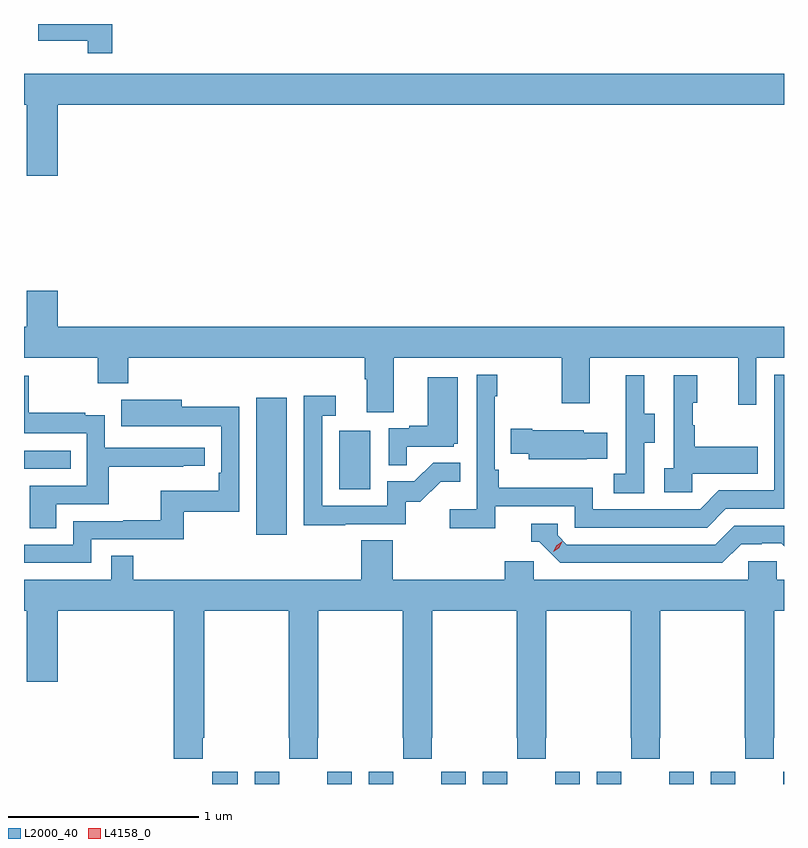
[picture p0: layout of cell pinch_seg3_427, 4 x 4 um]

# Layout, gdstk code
import gdstk
lib = gdstk.Library(unit=1e-6, precision=1e-09)
def R(c, l, rs):  # rectangles x0, y0, x1, y1
    for r in rs: c.add(gdstk.rectangle(r[:2], r[2:], *l))
def P(c, l, *ps):  # polygons
    for p in ps: c.add(gdstk.Polygon(p, *l))
L2000_40 = (2000, 40)
L4158_0 = (4158, 0)

pinch_seg3_427 = lib.new_cell('pinch_seg3_427')
R(pinch_seg3_427, L2000_40, [(897.254,702.669,897.388,702.733), (897.476,702.669,897.606,702.733), (897.858,702.669,897.988,702.733), (898.076,702.669,898.206,702.733), (898.458,702.669,898.588,702.733), (898.676,702.669,898.806,702.733), (899.058,702.669,899.188,702.733), (899.276,702.669,899.406,702.733), (899.658,702.669,899.788,702.733), (899.876,702.669,900.006,702.733), (900.258,702.669,900.262,702.733), (897.485,703.98,897.646,704.701), (897.92,704.22,898.084,704.527), (896.262,704.328,896.507,704.424), (897.944,706.667,898.333,706.669)])
P(pinch_seg3_427, L2000_40, [(896.726,706.669),(896.336,706.669),(896.336,706.58),(896.598,706.58),(896.598,706.515),(896.726,706.515)],
  [(896.44,706.244),(900.262,706.244),(900.262,706.408),(896.262,706.408),(896.262,706.244),(896.276,706.244),(896.276,705.87),(896.44,705.87)],
  [(898.207,704.912),(899.092,704.912),(899.092,704.673),(899.239,704.673),(899.239,704.912),(900.02,704.912),(900.02,704.664),(900.117,704.664),(900.117,704.912),(900.262,704.912),(900.262,705.076),(896.44,705.076),(896.44,705.265),(896.276,705.265),(896.276,705.076),(896.262,705.076),(896.262,704.912),(896.65,704.912),(896.65,704.777),(896.81,704.777),(896.81,704.912),(898.055,704.912),(898.055,704.8),(898.067,704.8),(898.067,704.626),(898.207,704.626)],
  [(898.742,704.13),(899.16,704.13),(899.16,704.019),(899.857,704.019),(899.956,704.118),(900.262,704.118),(900.262,704.823),(900.21,704.823),(900.21,704.214),(899.919,704.214),(899.82,704.115),(899.256,704.115),(899.256,704.227),(898.76,704.227),(898.76,704.323),(898.74,704.323),(898.74,704.711),(898.753,704.711),(898.753,704.824),(898.644,704.824),(898.644,704.116),(898.503,704.116),(898.503,704.014),(898.742,704.014)],
  [(899.778,704.303),(900.125,704.303),(900.125,704.443),(899.791,704.443),(899.791,704.558),(899.781,704.558),(899.781,704.676),(899.806,704.676),(899.806,704.821),(899.682,704.821),(899.682,704.33),(899.631,704.33),(899.631,704.205),(899.778,704.205)],
  [(899.526,704.464),(899.581,704.464),(899.581,704.619),(899.527,704.619),(899.527,704.821),(899.429,704.821),(899.429,704.607),(899.43,704.607),(899.43,704.303),(899.367,704.303),(899.367,704.2),(899.526,704.2)],
  [(896.431,704.142),(896.708,704.142),(896.708,704.338),(897.101,704.338),(897.101,704.343),(897.214,704.343),(897.214,704.439),(896.688,704.439),(896.688,704.611),(896.585,704.611),(896.585,704.623),(896.287,704.623),(896.287,704.817),(896.262,704.817),(896.262,704.514),(896.592,704.514),(896.592,704.238),(896.291,704.238),(896.291,704.014),(896.431,704.014)],
  [(898.277,704.445),(898.524,704.445),(898.524,704.46),(898.546,704.46),(898.546,704.809),(898.388,704.809),(898.388,704.554),(898.289,704.554),(898.289,704.541),(898.182,704.541),(898.182,704.347),(898.277,704.347)],
  [(897.953,704.037),(898.272,704.037),(898.272,704.154),(898.348,704.154),(898.455,704.261),(898.559,704.261),(898.559,704.36),(898.415,704.36),(898.317,704.262),(898.173,704.262),(898.173,704.133),(897.831,704.133),(897.831,704.607),(897.904,704.607),(897.904,704.713),(897.735,704.713),(897.735,704.032),(897.953,704.032)],
  [(896.616,703.956),(897.103,703.956),(897.103,704.103),(897.396,704.103),(897.396,704.654),(897.091,704.654),(897.091,704.692),(896.773,704.692),(896.773,704.552),(896.987,704.552),(896.987,704.553),(897.3,704.553),(897.3,704.308),(897.287,704.308),(897.287,704.212),(896.982,704.212),(896.982,704.057),(896.785,704.057),(896.785,704.052),(896.52,704.052),(896.52,703.929),(896.262,703.929),(896.262,703.833),(896.616,703.833)],
  [(899.225,704.381),(899.333,704.381),(899.333,704.518),(899.208,704.518),(899.208,704.53),(898.936,704.53),(898.936,704.538),(898.825,704.538),(898.825,704.408),(898.919,704.408),(898.919,704.378),(899.225,704.378)],
  [(900.037,703.932),(900.144,703.932),(900.144,703.935),(900.247,703.935),(900.262,703.92),(900.262,704.028),(900,704.028),(899.901,703.929),(899.118,703.929),(899.07,703.977),(899.07,704.04),(898.931,704.04),(898.931,703.944),(898.974,703.944),(899.085,703.833),(899.938,703.833)],
  [(897.203,702.913),(897.21,702.913),(897.21,703.58),(897.655,703.58),(897.655,702.913),(897.657,702.913),(897.657,702.801),(897.807,702.801),(897.807,702.913),(897.81,702.913),(897.81,703.58),(898.255,703.58),(898.255,702.913),(898.257,702.913),(898.257,702.801),(898.407,702.801),(898.407,702.913),(898.41,702.913),(898.41,703.58),(898.855,703.58),(898.855,702.913),(898.857,702.913),(898.857,702.801),(899.007,702.801),(899.007,702.913),(899.01,702.913),(899.01,703.58),(899.455,703.58),(899.455,702.913),(899.457,702.913),(899.457,702.801),(899.607,702.801),(899.607,702.913),(899.61,702.913),(899.61,703.58),(900.055,703.58),(900.055,702.913),(900.057,702.913),(900.057,702.801),(900.207,702.801),(900.207,702.913),(900.21,702.913),(900.21,703.58),(900.262,703.58),(900.262,703.744),(900.225,703.744),(900.225,703.842),(900.075,703.842),(900.075,703.744),(898.944,703.744),(898.944,703.842),(898.793,703.842),(898.793,703.744),(898.202,703.744),(898.202,703.952),(898.037,703.952),(898.037,703.744),(896.837,703.744),(896.837,703.871),(896.721,703.871),(896.721,703.744),(896.262,703.744),(896.262,703.58),(896.276,703.58),(896.276,703.206),(896.44,703.206),(896.44,703.58),(897.05,703.58),(897.05,702.801),(897.203,702.801)])
P(pinch_seg3_427, L4158_0, [(899.047,703.891),(899.047,703.892),(899.063,703.924),(899.093,703.943),(899.094,703.943),(899.094,703.943),(899.077,703.91),(899.047,703.891)])

lib.write_gds('pinch_seg3_427.gds')
